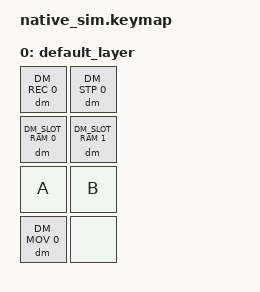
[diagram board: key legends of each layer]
#include <dt-bindings/zmk/keys.h>
#include <behaviors.dtsi>
#include <dt-bindings/zmk/kscan_mock.h>
#include <behaviors/dynamic_macro.dtsi>
#include <dt-bindings/zmk/dynamic_macros.h>

/*
 * Move-to-occupied event coverage: a move whose destination is already in use
 * raises ERROR_SLOT_OCCUPIED and stays in move mode (state remains MOVE_PENDING),
 * rather than completing or dropping to idle. Records A into slot 0 and B into
 * slot 1, enters move mode, selects slot 0 as source, then targets the occupied
 * slot 1.
 *
 * PERSIST=n forces NVS_SLOTS=0, so DM_SLOT_RAM 0/1 are machine slots 0/1.
 * FEEDBACK_OFF so the only stream is the dm_event notifications.
 *
 * Key layout (4 rows x 2 cols):
 *   (0,0)=REC        (0,1)=STP
 *   (1,0)=RAM slot 0 (1,1)=RAM slot 1
 *   (2,0)=A          (2,1)=B
 *   (3,0)=MOV        (3,1)=none
 */

&kscan {
    rows = <4>;
    columns = <2>;
    exit-after;
    events = <
        /* REC A -> assign slot 0 */
        ZMK_MOCK_PRESS(0,0,10)
        ZMK_MOCK_RELEASE(0,0,10)
        ZMK_MOCK_PRESS(2,0,10)
        ZMK_MOCK_RELEASE(2,0,10)
        ZMK_MOCK_PRESS(0,1,10)
        ZMK_MOCK_RELEASE(0,1,10)
        ZMK_MOCK_PRESS(1,0,10)
        ZMK_MOCK_RELEASE(1,0,10)
        /* REC B -> assign slot 1 */
        ZMK_MOCK_PRESS(0,0,10)
        ZMK_MOCK_RELEASE(0,0,10)
        ZMK_MOCK_PRESS(2,1,10)
        ZMK_MOCK_RELEASE(2,1,10)
        ZMK_MOCK_PRESS(0,1,10)
        ZMK_MOCK_RELEASE(0,1,10)
        ZMK_MOCK_PRESS(1,1,10)
        ZMK_MOCK_RELEASE(1,1,10)
        /* MOV -> select slot 0 -> target occupied slot 1 (rejected) */
        ZMK_MOCK_PRESS(3,0,10)
        ZMK_MOCK_RELEASE(3,0,10)
        ZMK_MOCK_PRESS(1,0,10)
        ZMK_MOCK_RELEASE(1,0,10)
        ZMK_MOCK_PRESS(1,1,10)
        ZMK_MOCK_RELEASE(1,1,10)
    >;
};

/ {
    keymap {
        compatible = "zmk,keymap";
        default_layer {
            bindings = <
                &dm DM_REC 0      &dm DM_STP 0
                &dm DM_SLOT_RAM 0 &dm DM_SLOT_RAM 1
                &kp A             &kp B
                &dm DM_MOV 0      &none
            >;
        };
    };
};
